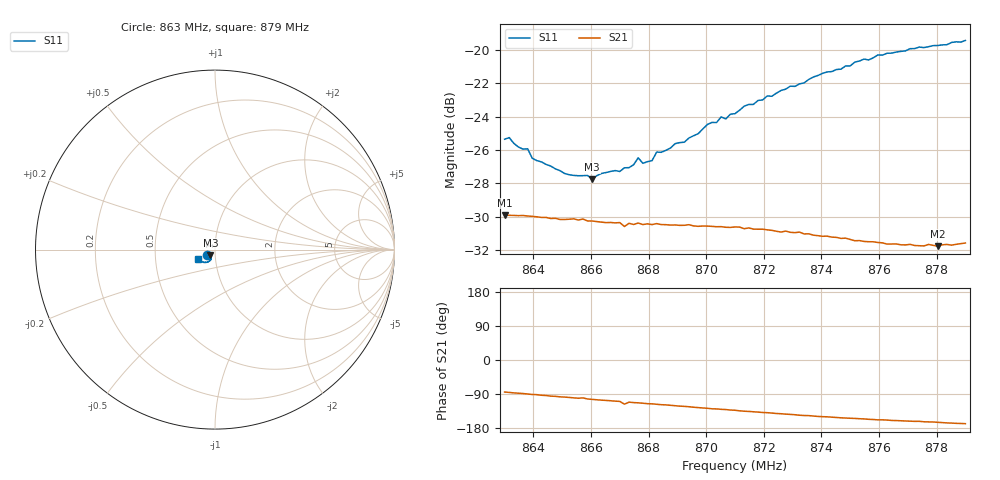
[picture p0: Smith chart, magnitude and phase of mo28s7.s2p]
# HZ S RI R 50
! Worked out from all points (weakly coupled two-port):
!   101 points, 863 MHz to 879 MHz, reference 50 ohm
!   highest |S21| = -29.88 dB at 863 MHz (marker M1); lowest = -31.8 dB at 878.04 MHz (marker M2)
!   lowest |S11| = -27.7 dB at 866.04 MHz (marker M3), VSWR 1.09, Z = 47.4 - j3.07 ohm
!   |S11| at or under -10 dB: start of sweep to end of sweep
!   S12 and S22 are empty: the file has one direction only
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8.63e8  -0.046 -0.0282  0.00308 -0.0319  0 0  0 0
8.6316e8  -0.0464 -0.0288  0.00246 -0.0319  0 0  0 0
8.6348e8  -0.0424 -0.0286  0.00134 -0.0319  0 0  0 0
8.638e8  -0.0421 -0.028  0.000173 -0.0318  0 0  0 0
8.6396e8  -0.0381 -0.0281  -0.000536 -0.0317  0 0  0 0
8.6412e8  -0.0373 -0.028  -0.00082 -0.0316  0 0  0 0
8.6508e8  -0.0306 -0.0297  -0.00421 -0.0308  0 0  0 0
8.6572e8  -0.027 -0.0322  -0.00539 -0.0307  0 0  0 0
8.6604e8  -0.0253 -0.0323  -0.0074 -0.0298  0 0  0 0
8.6732e8  -0.0248 -0.0368  -0.011 -0.0282  0 0  0 0
8.6764e8  -0.0226 -0.0418  -0.0118 -0.0279  0 0  0 0
8.678e8  -0.0212 -0.0405  -0.0122 -0.0274  0 0  0 0
8.6812e8  -0.0208 -0.0417  -0.013 -0.027  0 0  0 0
8.6828e8  -0.0217 -0.0444  -0.0136 -0.0269  0 0  0 0
8.6844e8  -0.0211 -0.0446  -0.014 -0.0265  0 0  0 0
8.6924e8  -0.021 -0.0485  -0.016 -0.0252  0 0  0 0
8.7052e8  -0.0256 -0.0575  -0.0191 -0.0226  0 0  0 0
8.71e8  -0.0264 -0.0587  -0.02 -0.0217  0 0  0 0
8.7372e8  -0.0437 -0.0704  -0.0236 -0.0148  0 0  0 0
8.7644e8  -0.0695 -0.0687  -0.0246 -0.00918  0 0  0 0
8.7804e8  -0.0831 -0.0609  -0.0249 -0.00694  0 0  0 0
8.79e8  -0.0927 -0.0527  -0.0258 -0.00548  0 0  0 0
